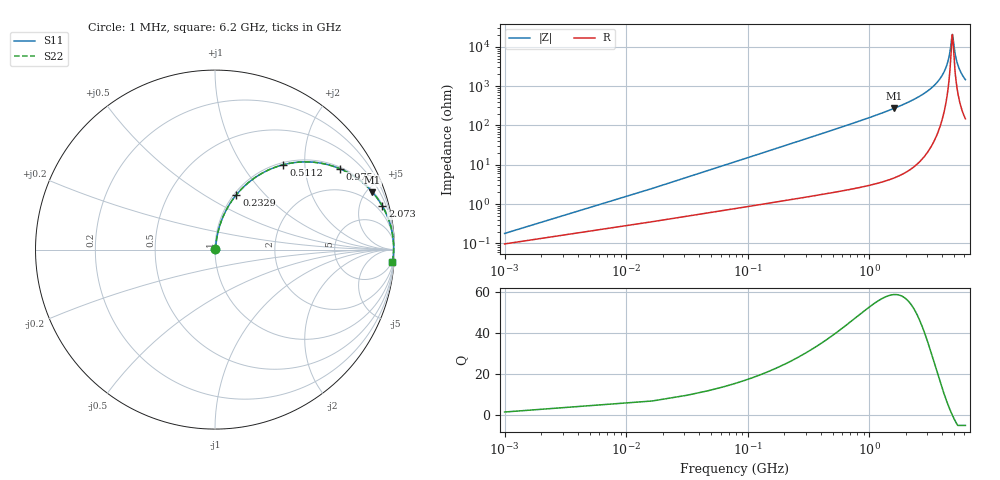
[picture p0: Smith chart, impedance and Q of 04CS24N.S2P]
! Coilcraft 0402CS-24N Chip Inductor
! 22 July 2002
# MHZ S MA R 50
!Freq  MagS11  AngS11  MagS21  AngS21  MagS12  AngS12  MagS22  AngS22
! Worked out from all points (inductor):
!   402 points, 1 MHz to 6.2 GHz, reference 50 ohm
!   read as one part in series: L = 24 nH near 31.92 MHz
!   highest Q = 58.9 at 1.609 GHz (marker M1), where L = 27 nH
!   self-resonance near 4.84 GHz
!   S11 on the Smith chart (normalised r, x): 1 MHz: 1.00, +0.00; 232.9 MHz: 1.03, +0.70; 511.2 MHz: 1.04, +1.56; 975 MHz: 1.06, +3.06; 2.073 GHz: 1.14, +7.65; 6.2 GHz: 4, -29
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1  0.001792 57.1  0.999 -0.1  0.999 -0.1  0.001792 57.1
47.38  0.0711 81.2  0.9916 -4.1  0.9916 -4.1  0.0711 81.2
62.84  0.09396 80.5  0.9888 -5.4  0.9888 -5.4  0.09396 80.5
124.68  0.1834 76.5  0.9737 -10.6  0.9737 -10.6  0.1834 76.5
232.9  0.3284 68.7  0.9323 -19.2  0.9323 -19.2  0.3284 68.7
356.58  0.4698 60.3  0.8686 -28.0  0.8686 -28.0  0.4698 60.3
511.18  0.6075 51.2  0.779 -37.4  0.779 -37.4  0.6075 51.2
974.98  0.8302 32.8  0.5417 -56.1  0.5417 -56.1  0.8302 32.8
1036.82  0.8466 31.1  0.5166 -57.8  0.5166 -57.8  0.8466 31.1
1608.84  0.9338 20.0  0.3424 -69.0  0.3424 -69.0  0.9338 20.0
2072.64  0.9633 14.6  0.2518 -74.4  0.2518 -74.4  0.9633 14.6
3108.46  0.9886 7.1  0.1241 -81.2  0.1241 -81.2  0.9886 7.1
3711.4  0.9935 4.2  0.07339 -82.8  0.07339 -82.8  0.9935 4.2
4144.28  0.995 2.4  0.04287 -82.0  0.04287 -82.0  0.995 2.4
4530.78  0.9953 1.0  0.01879 -75.1  0.01879 -75.1  0.9953 1.0
4793.6  0.9952 0.2  0.005577 -30.9  0.005577 -30.9  0.9952 0.2
4839.98  0.9952 0.0  0.004837 -3.1  0.004837 -3.1  0.9952 0.0
4886.36  0.9951 -0.1  0.005416 25.4  0.005416 25.4  0.9951 -0.1
5040.96  0.9949 -0.6  0.01195 64.2  0.01195 64.2  0.9949 -0.6
5180.1  0.9946 -1.0  0.01897 72.9  0.01897 72.9  0.9946 -1.0
5582.06  0.9934 -2.2  0.03906 79.2  0.03906 79.2  0.9934 -2.2
6200  0.9909 -3.9  0.06786 80.3  0.06786 80.3  0.9909 -3.9
